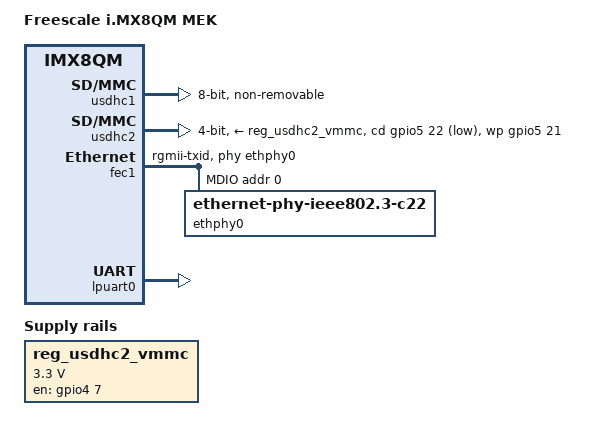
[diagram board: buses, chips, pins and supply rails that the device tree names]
// SPDX-License-Identifier: GPL-2.0+
/*
 * Copyright 2017-2018 NXP
 */

/dts-v1/;

#include "fsl-imx8qm.dtsi"
#include "fsl-imx8qm-mek-u-boot.dtsi"

/ {
	model = "Freescale i.MX8QM MEK";
	compatible = "fsl,imx8qm-mek", "fsl,imx8qm";

	chosen {
		bootargs = "console=ttyLP0,115200 earlycon=lpuart32,0x5a060000,115200";
		stdout-path = &lpuart0;
	};

	reg_usdhc2_vmmc: usdhc2_vmmc {
		compatible = "regulator-fixed";
		regulator-name = "sw-3p3-sd1";
		regulator-min-microvolt = <3300000>;
		regulator-max-microvolt = <3300000>;
		gpio = <&gpio4 7 GPIO_ACTIVE_HIGH>;
		off-on-delay = <4800>;
		enable-active-high;
	};
};

&iomuxc {
	pinctrl-names = "default";
	pinctrl-0 = <&pinctrl_hog>;

	imx8qm-mek {
		pinctrl_hog: hoggrp {
			fsl,pins = <
				SC_P_MCLK_OUT0_AUD_ACM_MCLK_OUT0	0x0600004c
				SC_P_QSPI1A_DATA1_LSIO_GPIO4_IO25	0x0600004c
				SC_P_SCU_GPIO0_03_LSIO_GPIO0_IO31	0x0600004c
			>;
		};

		pinctrl_fec1: fec1grp {
			fsl,pins = <
				SC_P_COMP_CTL_GPIO_1V8_3V3_ENET_ENETB_PAD	0x000014a0
				SC_P_ENET0_MDC_CONN_ENET0_MDC			0x06000020
				SC_P_ENET0_MDIO_CONN_ENET0_MDIO			0x06000020
				SC_P_ENET0_RGMII_TX_CTL_CONN_ENET0_RGMII_TX_CTL	0x00000061
				SC_P_ENET0_RGMII_TXC_CONN_ENET0_RGMII_TXC	0x00000061
				SC_P_ENET0_RGMII_TXD0_CONN_ENET0_RGMII_TXD0	0x00000061
				SC_P_ENET0_RGMII_TXD1_CONN_ENET0_RGMII_TXD1	0x00000061
				SC_P_ENET0_RGMII_TXD2_CONN_ENET0_RGMII_TXD2	0x00000061
				SC_P_ENET0_RGMII_TXD3_CONN_ENET0_RGMII_TXD3	0x00000061
				SC_P_ENET0_RGMII_RXC_CONN_ENET0_RGMII_RXC	0x00000061
				SC_P_ENET0_RGMII_RX_CTL_CONN_ENET0_RGMII_RX_CTL	0x00000061
				SC_P_ENET0_RGMII_RXD0_CONN_ENET0_RGMII_RXD0	0x00000061
				SC_P_ENET0_RGMII_RXD1_CONN_ENET0_RGMII_RXD1	0x00000061
				SC_P_ENET0_RGMII_RXD2_CONN_ENET0_RGMII_RXD2	0x00000061
				SC_P_ENET0_RGMII_RXD3_CONN_ENET0_RGMII_RXD3	0x00000061
			>;
		};

		pinctrl_fec2: fec2grp {
			fsl,pins = <
				SC_P_COMP_CTL_GPIO_1V8_3V3_ENET_ENETA_PAD	0x000014a0
				SC_P_ENET1_RGMII_TX_CTL_CONN_ENET1_RGMII_TX_CTL	0x00000060
				SC_P_ENET1_RGMII_TXC_CONN_ENET1_RGMII_TXC	0x00000060
				SC_P_ENET1_RGMII_TXD0_CONN_ENET1_RGMII_TXD0	0x00000060
				SC_P_ENET1_RGMII_TXD1_CONN_ENET1_RGMII_TXD1	0x00000060
				SC_P_ENET1_RGMII_TXD2_CONN_ENET1_RGMII_TXD2	0x00000060
				SC_P_ENET1_RGMII_TXD3_CONN_ENET1_RGMII_TXD3	0x00000060
				SC_P_ENET1_RGMII_RXC_CONN_ENET1_RGMII_RXC	0x00000060
				SC_P_ENET1_RGMII_RX_CTL_CONN_ENET1_RGMII_RX_CTL	0x00000060
				SC_P_ENET1_RGMII_RXD0_CONN_ENET1_RGMII_RXD0	0x00000060
				SC_P_ENET1_RGMII_RXD1_CONN_ENET1_RGMII_RXD1	0x00000060
				SC_P_ENET1_RGMII_RXD2_CONN_ENET1_RGMII_RXD2	0x00000060
				SC_P_ENET1_RGMII_RXD3_CONN_ENET1_RGMII_RXD3	0x00000060
			>;
		};

		pinctrl_lpuart0: lpuart0grp {
			fsl,pins = <
				SC_P_UART0_RX_DMA_UART0_RX		0x06000020
				SC_P_UART0_TX_DMA_UART0_TX		0x06000020
			>;
		};

		pinctrl_usdhc1: usdhc1grp {
			fsl,pins = <
				SC_P_EMMC0_CLK_CONN_EMMC0_CLK		0x06000041
				SC_P_EMMC0_CMD_CONN_EMMC0_CMD		0x00000021
				SC_P_EMMC0_DATA0_CONN_EMMC0_DATA0	0x00000021
				SC_P_EMMC0_DATA1_CONN_EMMC0_DATA1	0x00000021
				SC_P_EMMC0_DATA2_CONN_EMMC0_DATA2	0x00000021
				SC_P_EMMC0_DATA3_CONN_EMMC0_DATA3	0x00000021
				SC_P_EMMC0_DATA4_CONN_EMMC0_DATA4	0x00000021
				SC_P_EMMC0_DATA5_CONN_EMMC0_DATA5	0x00000021
				SC_P_EMMC0_DATA6_CONN_EMMC0_DATA6	0x00000021
				SC_P_EMMC0_DATA7_CONN_EMMC0_DATA7	0x00000021
				SC_P_EMMC0_STROBE_CONN_EMMC0_STROBE	0x00000041
				SC_P_EMMC0_RESET_B_CONN_EMMC0_RESET_B	0x00000021
			>;
		};

		pinctrl_usdhc2_gpio: usdhc2grpgpio {
			fsl,pins = <
				SC_P_USDHC1_DATA6_LSIO_GPIO5_IO21	0x00000021
				SC_P_USDHC1_DATA7_LSIO_GPIO5_IO22	0x00000021
				SC_P_USDHC1_RESET_B_LSIO_GPIO4_IO07	0x00000021
			>;
		};

		pinctrl_usdhc2: usdhc2grp {
			fsl,pins = <
				SC_P_USDHC1_CLK_CONN_USDHC1_CLK		0x06000041
				SC_P_USDHC1_CMD_CONN_USDHC1_CMD		0x00000021
				SC_P_USDHC1_DATA0_CONN_USDHC1_DATA0	0x00000021
				SC_P_USDHC1_DATA1_CONN_USDHC1_DATA1	0x00000021
				SC_P_USDHC1_DATA2_CONN_USDHC1_DATA2	0x00000021
				SC_P_USDHC1_DATA3_CONN_USDHC1_DATA3	0x00000021
				SC_P_USDHC1_VSELECT_CONN_USDHC1_VSELECT	0x00000021
			>;
		};
	};
};

&usdhc1 {
	pinctrl-names = "default";
	pinctrl-0 = <&pinctrl_usdhc1>;
	bus-width = <8>;
	non-removable;
	status = "okay";
};

&usdhc2 {
	pinctrl-names = "default";
	pinctrl-0 = <&pinctrl_usdhc2>, <&pinctrl_usdhc2_gpio>;
	bus-width = <4>;
	cd-gpios = <&gpio5 22 GPIO_ACTIVE_LOW>;
	wp-gpios = <&gpio5 21 GPIO_ACTIVE_HIGH>;
	vmmc-supply = <&reg_usdhc2_vmmc>;
	status = "okay";
};

&fec1 {
	pinctrl-names = "default";
	pinctrl-0 = <&pinctrl_fec1>;
	phy-mode = "rgmii-txid";
	phy-handle = <&ethphy0>;
	fsl,magic-packet;
	fsl,rgmii_rxc_dly;
	status = "okay";

	mdio {
		#address-cells = <1>;
		#size-cells = <0>;

		ethphy0: ethernet-phy@0 {
			compatible = "ethernet-phy-ieee802.3-c22";
			reg = <0>;
			at803x,eee-disabled;
			at803x,vddio-1p8v;
		};

		ethphy1: ethernet-phy@1 {
			compatible = "ethernet-phy-ieee802.3-c22";
			reg = <1>;
			at803x,eee-disabled;
			at803x,vddio-1p8v;
			status = "disabled";
		};
	};
};

&lpuart0 { /* console */
	pinctrl-names = "default";
	pinctrl-0 = <&pinctrl_lpuart0>;
	status = "okay";
};

&gpio1 {
	status = "okay";
};
